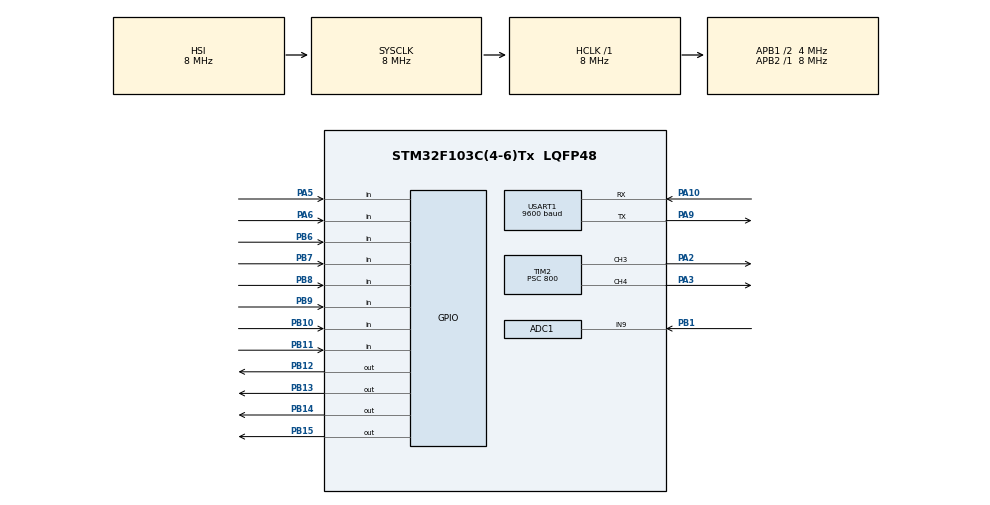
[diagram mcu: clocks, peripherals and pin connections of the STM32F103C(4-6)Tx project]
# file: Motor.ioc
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ADC1.Channel-0\#ChannelRegularConversion=ADC_CHANNEL_9
ADC1.ContinuousConvMode=ENABLE
ADC1.NbrOfConversionFlag=1
ADC1.Rank-0\#ChannelRegularConversion=1
ADC1.SamplingTime-0\#ChannelRegularConversion=ADC_SAMPLETIME_1CYCLE_5
ADC1.master=1
Mcu.Family=STM32F1
Mcu.Name=STM32F103C(4-6)Tx
Mcu.Package=LQFP48
NVIC.PriorityGroup=NVIC_PRIORITYGROUP_4
PA10.Mode=Asynchronous
PA10.Signal=USART1_RX
PA2.Signal=S_TIM2_CH3
PA3.Signal=S_TIM2_CH4
PA5.Signal=GPIO_Input
PA6.Signal=GPIO_Input
PA9.Mode=Asynchronous
PA9.Signal=USART1_TX
PB1.Signal=ADCx_IN9
PB10.GPIO_PuPd=GPIO_PULLUP
PB10.Signal=GPIO_Input
PB11.GPIO_PuPd=GPIO_PULLUP
PB11.Signal=GPIO_Input
PB12.Signal=GPIO_Output
PB13.Signal=GPIO_Output
PB14.Signal=GPIO_Output
PB15.Signal=GPIO_Output
PB6.GPIO_PuPd=GPIO_PULLUP
PB6.Signal=GPIO_Input
PB7.GPIO_PuPd=GPIO_PULLUP
PB7.Signal=GPIO_Input
PB8.GPIO_PuPd=GPIO_PULLUP
PB8.Signal=GPIO_Input
PB9.GPIO_PuPd=GPIO_PULLUP
PB9.Signal=GPIO_Input
ProjectManager.HeapSize=0x200
ProjectManager.StackSize=0x400
ProjectManager.TargetToolchain=STM32CubeIDE
RCC.ADCPresc=RCC_ADCPCLK2_DIV6
RCC.AHBFreq_Value=8000000
RCC.APB1CLKDivider=RCC_HCLK_DIV2
RCC.APB1Freq_Value=4000000
RCC.APB1TimFreq_Value=8000000
RCC.APB2Freq_Value=8000000
RCC.APB2TimFreq_Value=8000000
RCC.HCLKFreq_Value=8000000
RCC.SYSCLKFreq_VALUE=8000000
RCC.USBFreq_Value=8000000
SH.ADCx_IN9.0=ADC1_IN9,IN9
SH.S_TIM2_CH3.0=TIM2_CH3,PWM Generation3 CH3
SH.S_TIM2_CH4.0=TIM2_CH4,PWM Generation4 CH4
TIM2.Channel-PWM\ Generation3\ CH3=TIM_CHANNEL_3
TIM2.Channel-PWM\ Generation4\ CH4=TIM_CHANNEL_4
TIM2.OCMode_PWM-PWM\ Generation4\ CH4=TIM_OCMODE_PWM1
TIM2.Period=1000
TIM2.Prescaler=800
TIM2.Pulse-PWM\ Generation3\ CH3=500
TIM2.Pulse-PWM\ Generation4\ CH4=500
USART1.BaudRate=9600
USART1.VirtualMode=VM_ASYNC
VP_SYS_VS_ND.Mode=No_Debug
VP_TIM2_VS_ClockSourceINT.Mode=Internal
board=custom

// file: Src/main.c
/* USER CODE BEGIN Header */
/**
  ******************************************************************************
  * @file           : main.c
  * @brief          : Main program body
  ******************************************************************************
  * @attention
  *
  * <h2><center>&copy; Copyright (c) 2023 STMicroelectronics.
  * All rights reserved.</center></h2>
  *
  * This software component is licensed by ST under BSD 3-Clause license,
  * the "License"; You may not use this file except in compliance with the
  * License. You may obtain a copy of the License at:
  *                        opensource.org/licenses/BSD-3-Clause
  *
  ******************************************************************************
  */
/* USER CODE END Header */

#include "main.h"

/* USER CODE BEGIN Includes */
#include"stdio.h"
/* USER CODE END Includes */

ADC_HandleTypeDef hadc1;

TIM_HandleTypeDef htim2;

UART_HandleTypeDef huart1;

void SystemClock_Config(void);
static void MX_GPIO_Init(void);
static void MX_TIM2_Init(void);
static void MX_ADC1_Init(void);
static void MX_USART1_UART_Init(void);

int main(void)
{
  /* USER CODE BEGIN 1 */
  uint16_t readValue;
  int speed;
  char str[20];
  /* USER CODE END 1 */

  /* MCU Configuration--------------------------------------------------------*/

  /* Reset of all peripherals, Initializes the Flash interface and the Systick. */
  HAL_Init();

  /* Configure the system clock */
  SystemClock_Config();

  /* Initialize all configured peripherals */
  MX_GPIO_Init();
  MX_TIM2_Init();
  MX_ADC1_Init();
  MX_USART1_UART_Init();
  /* USER CODE BEGIN 2 */
    /* HAL_GPIO_WritePin(GPIOA,GPIO_PIN_1,GPIO_PIN_SET);   // Start first motor clock wise rotation
     HAL_GPIO_WritePin(GPIOA,GPIO_PIN_2,GPIO_PIN_RESET);

     HAL_GPIO_WritePin(GPIOA,GPIO_PIN_3,GPIO_PIN_SET);   //Start second motor clock wise rotation
     HAL_GPIO_WritePin(GPIOA,GPIO_PIN_4,GPIO_PIN_RESET);
*/
  HAL_ADC_Start(&hadc1);  //PB1
 // HAL_ADCEx_Calibration_Start(&hadc1);
  HAL_TIM_Base_Start(&htim2);               //Initialize stm32 timer 3
  HAL_TIM_PWM_Start(&htim2,TIM_CHANNEL_3);  //PB0 Start pwm second motor 100% duty cycle

  /* USER CODE END 2 */

  /* Infinite loop */
  while (1)
  {

    /* USER CODE BEGIN 3 */
    //STOP

  /* HAL_TIM_PWM_Start(&htim2,TIM_CHANNEL_3);  //PB0 Start pwm second motor 100% duty cycle

*/
    switch(HAL_GPIO_ReadPin(GPIOA, GPIO_PIN_6))
       {
           case GPIO_PIN_SET: // L298 Drive Motor
             HAL_TIM_PWM_Start(&htim2,TIM_CHANNEL_4);  //PB0 Start pwm second motor 100% duty cycle
             HAL_ADC_PollForConversion(&hadc1,1000);
                     readValue = HAL_ADC_GetValue(&hadc1);
                     readValue = (readValue<<4);
                     sprintf(str,"ADC value =  %u ", readValue);
                     HAL_UART_Transmit(&huart1,(uint8_t*)str, sizeof(str),100);
                     HAL_UART_Transmit(&huart1,(uint8_t*)&"\n\r",2,2);
                     HAL_Delay(200);

                     if (readValue < 1872) {
                       HAL_GPIO_WritePin(GPIOB, GPIO_PIN_14, 0);
                       HAL_GPIO_WritePin(GPIOB, GPIO_PIN_15, 1);
                       speed = (readValue - 1800) * (-1) ;

                     } else if (readValue > 1900) {
                       HAL_GPIO_WritePin(GPIOB, GPIO_PIN_15, 0);
                       HAL_GPIO_WritePin(GPIOB, GPIO_PIN_14, 1);
                       speed = (readValue - 1800) ;
                     } else  {
                       speed = 0;
                     }
                     __HAL_TIM_SET_COMPARE(&htim2,TIM_CHANNEL_4, speed);
                     HAL_Delay(50);
               break;
           case GPIO_PIN_RESET: // L293D Drive Motor
                      //STOP L298 Drive Motor
                     HAL_GPIO_WritePin(GPIOB, GPIO_PIN_14, 0);
                     HAL_GPIO_WritePin(GPIOB, GPIO_PIN_15, 0);
                     if(HAL_GPIO_ReadPin(GPIOB,GPIO_PIN_6)==GPIO_PIN_RESET)
                         {
                           HAL_GPIO_WritePin(GPIOB,GPIO_PIN_12,0);
                           HAL_GPIO_WritePin(GPIOB,GPIO_PIN_13,0);
                           HAL_GPIO_WritePin(GPIOB,GPIO_PIN_14,0);
                           HAL_GPIO_WritePin(GPIOB,GPIO_PIN_15,0);
                         }
                         //Clockwise
                         if(HAL_GPIO_ReadPin(GPIOB,GPIO_PIN_7)==GPIO_PIN_RESET)
                           {
                           HAL_GPIO_WritePin(GPIOB,GPIO_PIN_12,1);
                           HAL_GPIO_WritePin(GPIOB,GPIO_PIN_13,0);
                           }
                         //AntiClockwise
                         if(HAL_GPIO_ReadPin(GPIOB,GPIO_PIN_8)==GPIO_PIN_RESET)
                         {
                            HAL_GPIO_WritePin(GPIOB,GPIO_PIN_12,0);
                            HAL_GPIO_WritePin(GPIOB,GPIO_PIN_13,1);
                         }
                         //Motor rotate at 25% duty cycle
                           if(HAL_GPIO_ReadPin(GPIOB,GPIO_PIN_9)==GPIO_PIN_RESET)
                             {
                               __HAL_TIM_SET_COMPARE(&htim2,TIM_CHANNEL_3,25); //Second motor 25% voltage
                             }
                           //Motor rotate at 50% duty cycle
                            if(HAL_GPIO_ReadPin(GPIOB,GPIO_PIN_10)==GPIO_PIN_RESET)
                            {
                              __HAL_TIM_SET_COMPARE(&htim2,TIM_CHANNEL_3,50); //Second motor 50% voltage
                            }
                            //Motor rotate at 75% duty cycle
                            if(HAL_GPIO_ReadPin(GPIOB,GPIO_PIN_11)==GPIO_PIN_RESET)
                            {
                              __HAL_TIM_SET_COMPARE(&htim2,TIM_CHANNEL_3,75); //Second motor 75% voltage
                            }
               break;
           default:
               // Handle any unexpected cases
               break;
       }
  }
  /* USER CODE END 3 */
}

void SystemClock_Config(void)
{
  RCC_OscInitTypeDef RCC_OscInitStruct = {0};
  RCC_ClkInitTypeDef RCC_ClkInitStruct = {0};
  RCC_PeriphCLKInitTypeDef PeriphClkInit = {0};

  /** Initializes the CPU, AHB and APB busses clocks
  */
  RCC_OscInitStruct.OscillatorType = RCC_OSCILLATORTYPE_HSI;
  RCC_OscInitStruct.HSIState = RCC_HSI_ON;
  RCC_OscInitStruct.HSICalibrationValue = RCC_HSICALIBRATION_DEFAULT;
  RCC_OscInitStruct.PLL.PLLState = RCC_PLL_NONE;
  if (HAL_RCC_OscConfig(&RCC_OscInitStruct) != HAL_OK)
  {
    Error_Handler();
  }
  /** Initializes the CPU, AHB and APB busses clocks
  */
  RCC_ClkInitStruct.ClockType = RCC_CLOCKTYPE_HCLK|RCC_CLOCKTYPE_SYSCLK
                              |RCC_CLOCKTYPE_PCLK1|RCC_CLOCKTYPE_PCLK2;
  RCC_ClkInitStruct.SYSCLKSource = RCC_SYSCLKSOURCE_HSI;
  RCC_ClkInitStruct.AHBCLKDivider = RCC_SYSCLK_DIV1;
  RCC_ClkInitStruct.APB1CLKDivider = RCC_HCLK_DIV2;
  RCC_ClkInitStruct.APB2CLKDivider = RCC_HCLK_DIV1;

  if (HAL_RCC_ClockConfig(&RCC_ClkInitStruct, FLASH_LATENCY_0) != HAL_OK)
  {
    Error_Handler();
  }
  PeriphClkInit.PeriphClockSelection = RCC_PERIPHCLK_ADC;
  PeriphClkInit.AdcClockSelection = RCC_ADCPCLK2_DIV6;
  if (HAL_RCCEx_PeriphCLKConfig(&PeriphClkInit) != HAL_OK)
  {
    Error_Handler();
  }
}

static void MX_ADC1_Init(void)
{

  ADC_ChannelConfTypeDef sConfig = {0};

  /** Common config
  */
  hadc1.Instance = ADC1;
  hadc1.Init.ScanConvMode = ADC_SCAN_DISABLE;
  hadc1.Init.ContinuousConvMode = ENABLE;
  hadc1.Init.DiscontinuousConvMode = DISABLE;
  hadc1.Init.ExternalTrigConv = ADC_SOFTWARE_START;
  hadc1.Init.DataAlign = ADC_DATAALIGN_RIGHT;
  hadc1.Init.NbrOfConversion = 1;
  if (HAL_ADC_Init(&hadc1) != HAL_OK)
  {
    Error_Handler();
  }
  /** Configure Regular Channel
  */
  sConfig.Channel = ADC_CHANNEL_9;
  sConfig.Rank = ADC_REGULAR_RANK_1;
  sConfig.SamplingTime = ADC_SAMPLETIME_1CYCLE_5;
  if (HAL_ADC_ConfigChannel(&hadc1, &sConfig) != HAL_OK)
  {
    Error_Handler();
  }

}

static void MX_TIM2_Init(void)
{

  TIM_ClockConfigTypeDef sClockSourceConfig = {0};
  TIM_MasterConfigTypeDef sMasterConfig = {0};
  TIM_OC_InitTypeDef sConfigOC = {0};

  htim2.Instance = TIM2;
  htim2.Init.Prescaler = 800;
  htim2.Init.CounterMode = TIM_COUNTERMODE_UP;
  htim2.Init.Period = 1000;
  htim2.Init.ClockDivision = TIM_CLOCKDIVISION_DIV1;
  htim2.Init.AutoReloadPreload = TIM_AUTORELOAD_PRELOAD_DISABLE;
  if (HAL_TIM_Base_Init(&htim2) != HAL_OK)
  {
    Error_Handler();
  }
  sClockSourceConfig.ClockSource = TIM_CLOCKSOURCE_INTERNAL;
  if (HAL_TIM_ConfigClockSource(&htim2, &sClockSourceConfig) != HAL_OK)
  {
    Error_Handler();
  }
  if (HAL_TIM_PWM_Init(&htim2) != HAL_OK)
  {
    Error_Handler();
  }
  sMasterConfig.MasterOutputTrigger = TIM_TRGO_RESET;
  sMasterConfig.MasterSlaveMode = TIM_MASTERSLAVEMODE_DISABLE;
  if (HAL_TIMEx_MasterConfigSynchronization(&htim2, &sMasterConfig) != HAL_OK)
  {
    Error_Handler();
  }
  sConfigOC.OCMode = TIM_OCMODE_PWM1;
  sConfigOC.Pulse = 500;
  sConfigOC.OCPolarity = TIM_OCPOLARITY_HIGH;
  sConfigOC.OCFastMode = TIM_OCFAST_DISABLE;
  if (HAL_TIM_PWM_ConfigChannel(&htim2, &sConfigOC, TIM_CHANNEL_3) != HAL_OK)
  {
    Error_Handler();
  }
  if (HAL_TIM_PWM_ConfigChannel(&htim2, &sConfigOC, TIM_CHANNEL_4) != HAL_OK)
  {
    Error_Handler();
  }
  HAL_TIM_MspPostInit(&htim2);

}

static void MX_USART1_UART_Init(void)
{

  huart1.Instance = USART1;
  huart1.Init.BaudRate = 9600;
  huart1.Init.WordLength = UART_WORDLENGTH_8B;
  huart1.Init.StopBits = UART_STOPBITS_1;
  huart1.Init.Parity = UART_PARITY_NONE;
  huart1.Init.Mode = UART_MODE_TX_RX;
  huart1.Init.HwFlowCtl = UART_HWCONTROL_NONE;
  huart1.Init.OverSampling = UART_OVERSAMPLING_16;
  if (HAL_UART_Init(&huart1) != HAL_OK)
  {
    Error_Handler();
  }

}

static void MX_GPIO_Init(void)
{
  GPIO_InitTypeDef GPIO_InitStruct = {0};

  /* GPIO Ports Clock Enable */
  __HAL_RCC_GPIOA_CLK_ENABLE();
  __HAL_RCC_GPIOB_CLK_ENABLE();

  /*Configure GPIO pin Output Level */
  HAL_GPIO_WritePin(GPIOB, GPIO_PIN_12|GPIO_PIN_13|GPIO_PIN_14|GPIO_PIN_15, GPIO_PIN_RESET);

  /*Configure GPIO pins : PA5 PA6 */
  GPIO_InitStruct.Pin = GPIO_PIN_5|GPIO_PIN_6;
  GPIO_InitStruct.Mode = GPIO_MODE_INPUT;
  GPIO_InitStruct.Pull = GPIO_NOPULL;
  HAL_GPIO_Init(GPIOA, &GPIO_InitStruct);

  /*Configure GPIO pins : PB10 PB11 PB6 PB7
                           PB8 PB9 */
  GPIO_InitStruct.Pin = GPIO_PIN_10|GPIO_PIN_11|GPIO_PIN_6|GPIO_PIN_7
                          |GPIO_PIN_8|GPIO_PIN_9;
  GPIO_InitStruct.Mode = GPIO_MODE_INPUT;
  GPIO_InitStruct.Pull = GPIO_PULLUP;
  HAL_GPIO_Init(GPIOB, &GPIO_InitStruct);

  /*Configure GPIO pins : PB12 PB13 PB14 PB15 */
  GPIO_InitStruct.Pin = GPIO_PIN_12|GPIO_PIN_13|GPIO_PIN_14|GPIO_PIN_15;
  GPIO_InitStruct.Mode = GPIO_MODE_OUTPUT_PP;
  GPIO_InitStruct.Pull = GPIO_NOPULL;
  GPIO_InitStruct.Speed = GPIO_SPEED_FREQ_LOW;
  HAL_GPIO_Init(GPIOB, &GPIO_InitStruct);

}

void Error_Handler(void)
{
}

/************************ (C) COPYRIGHT STMicroelectronics *****END OF FILE****/
